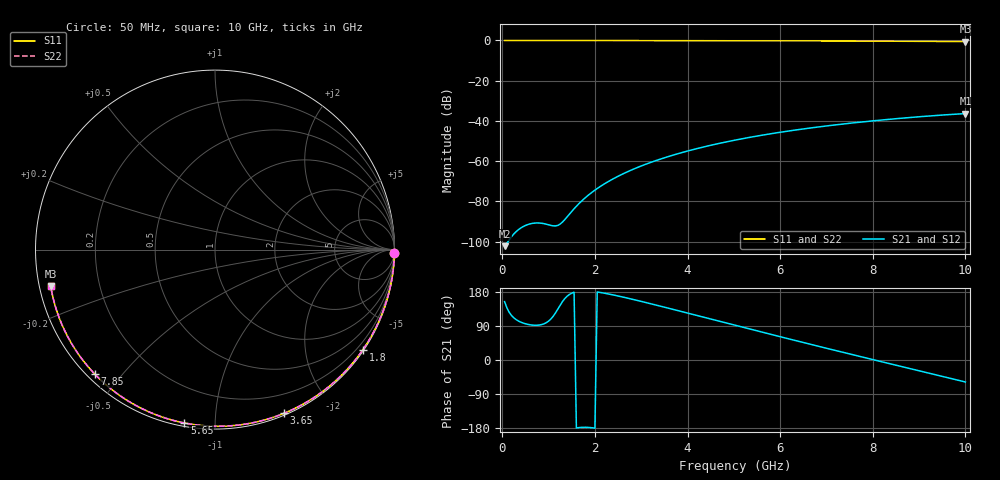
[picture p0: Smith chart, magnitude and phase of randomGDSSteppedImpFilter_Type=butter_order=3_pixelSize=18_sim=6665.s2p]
! freq	dB(S11)	phase(S11)	dB(S12)	phase(S12)
!  dB(S21)	phase(S21)	dB(S22)	phase(S22)
!S-par simulation data
#  GHz  S  DB  R 50
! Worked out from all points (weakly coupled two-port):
!   200 points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, 50 MHz to 10 GHz, reference 50 ohm
!   highest |S21| = -36.33 dB at 10 GHz (marker M1); lowest = -102.2 dB at 50 MHz (marker M2)
!   lowest |S11| = -0.6 dB at 10 GHz (marker M3), VSWR 31.18, Z = 1.62 - j5.48 ohm
!   |S11| at or under -10 dB: nowhere
!   |S22| runs from -0.6 to 0.0 dB; largest |S21 - S12| = 0
!   S11 on the Smith chart (normalised r, x): 50 MHz: open; 1.8 GHz: 0.03, -3.26; 3.65 GHz: 0.02, -1.51; 5.65 GHz: 0.02, -0.84; 7.85 GHz: 0.02, -0.42; 10 GHz: 0.03, -0.11
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0.05  -0.00 -1.0  -102.20 153.9  -102.20 153.9  -0.00 -1.0
0.45  -0.01 -8.7  -92.47 97.5  -92.47 97.5  -0.01 -8.7
0.85  -0.02 -16.3  -90.81 93.5  -90.81 93.5  -0.02 -16.3
1.7  -0.04 -32.2  -80.05 -177.8  -80.05 -177.8  -0.04 -32.2
1.75  -0.04 -33.1  -78.98 -177.5  -78.98 -177.5  -0.04 -33.1
1.8  -0.04 -34.1  -77.97 -177.6  -77.97 -177.6  -0.04 -34.1
1.95  -0.05 -36.8  -75.20 -178.9  -75.20 -178.9  -0.05 -36.8
2.1  -0.05 -39.6  -72.77 178.6  -72.77 178.6  -0.05 -39.6
2.45  -0.06 -45.9  -68.05 170.3  -68.05 170.3  -0.06 -46.0
2.9  -0.07 -54.0  -63.27 157.6  -63.27 157.6  -0.07 -54.0
3.4  -0.08 -62.8  -59.04 142.5  -59.04 142.5  -0.08 -62.8
3.65  -0.09 -67.1  -57.22 134.8  -57.22 134.8  -0.09 -67.1
4.3  -0.11 -78.1  -53.17 114.5  -53.17 114.5  -0.11 -78.1
5.05  -0.14 -90.4  -49.40 91.0  -49.40 91.0  -0.14 -90.5
5.65  -0.17 -100.0  -46.90 72.3  -46.90 72.3  -0.17 -100.1
6.15  -0.19 -107.9  -45.09 56.8  -45.09 56.8  -0.19 -107.9
6.7  -0.23 -116.4  -43.34 40.0  -43.34 40.0  -0.23 -116.4
7.25  -0.27 -124.8  -41.79 23.4  -41.79 23.4  -0.27 -124.9
7.85  -0.32 -134.0  -40.29 5.6  -40.29 5.6  -0.32 -134.0
8.35  -0.36 -141.6  -39.18 -9.2  -39.18 -9.2  -0.36 -141.6
9.2  -0.45 -154.7  -37.55 -34.3  -37.55 -34.3  -0.45 -154.8
10  -0.56 -167.5  -36.33 -58.0  -36.33 -58.0  -0.56 -167.5
